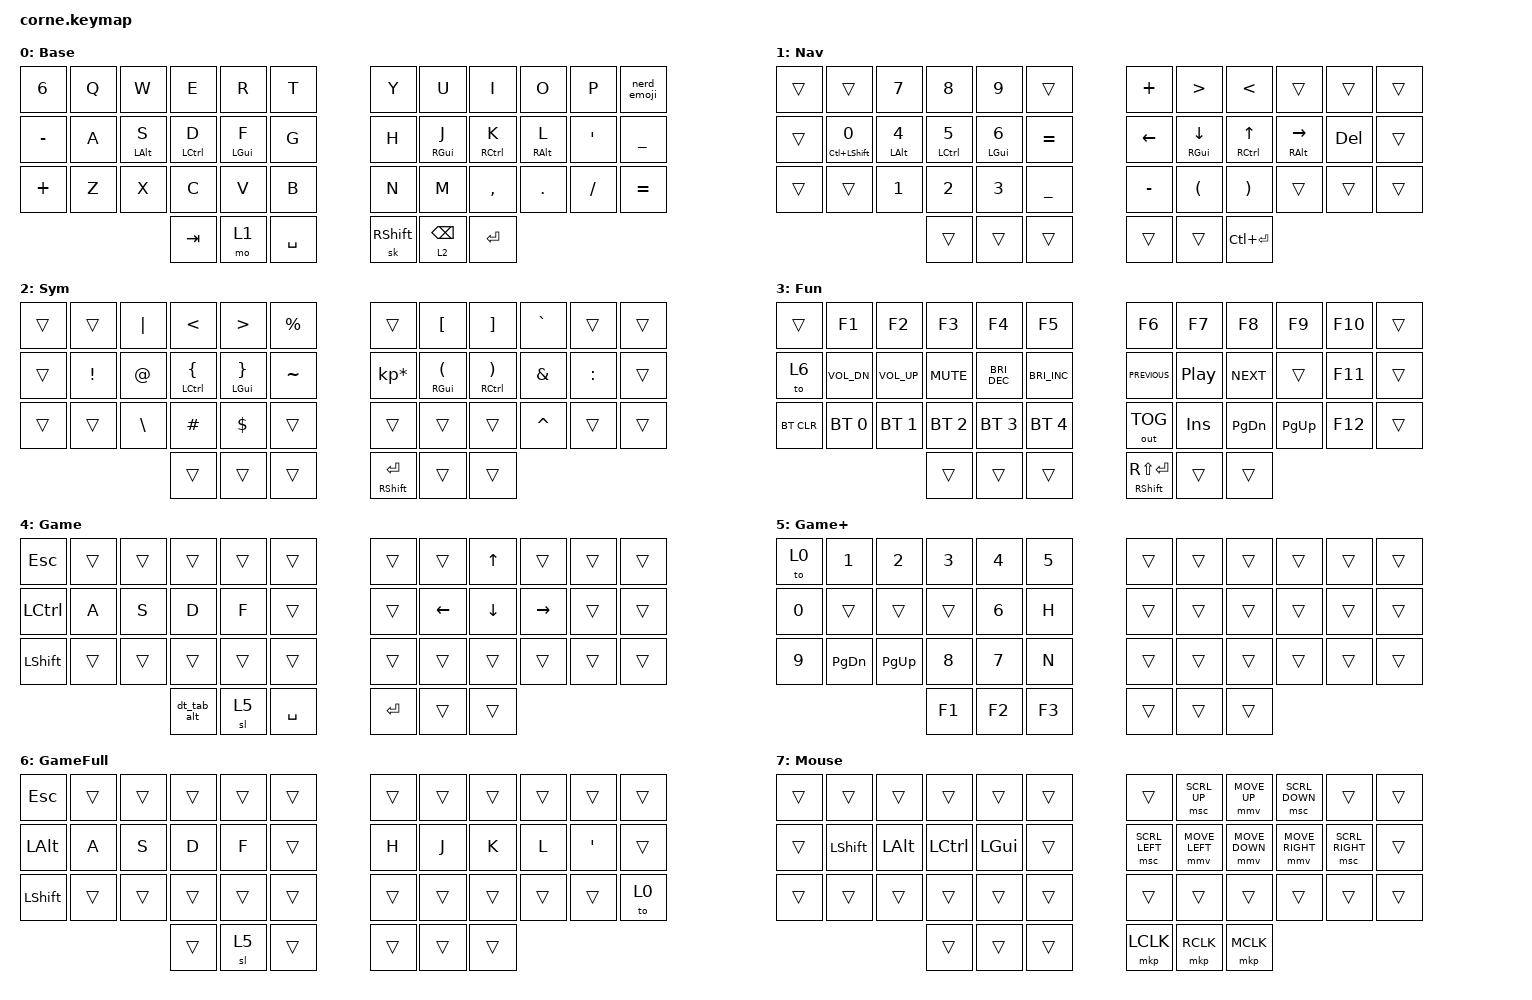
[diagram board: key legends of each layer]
// vi:ft=c

/*
 * Copyright (c) 2020 The ZMK Contributors
 *
 * SPDX-License-Identifier: MIT
 */

#define ZMK_POINTING_DEFAULT_MOVE_VAL 1500  // default: 600
#define ZMK_POINTING_DEFAULT_SCRL_VAL 20    // default: 10

#include <behaviors.dtsi>
#include <dt-bindings/zmk/bt.h>
#include <dt-bindings/zmk/keys.h>
#include <dt-bindings/zmk/outputs.h>
#include <dt-bindings/zmk/pointing.h>


// default behavior configs
&mmv {
    acceleration-exponent = <1>;      // 1
    time-to-max-speed-ms = <500>;    // 40
};

&msc {
    acceleration-exponent = <1>;      // 0
    time-to-max-speed-ms = <40>;      // 500
};

&lt {
    tapping-term-ms = <150>;
    flavor = "hold-preferred";
    quick-tap-ms = <100>;
};

/ {
    combos {
        compatible = "zmk,combos";

        semicolon {
            bindings = <&kp SEMICOLON>;
            key-positions = <19 21>;
            layers = <0 1 2 3>;
        };

        caps_word {
            bindings = <&caps_word>;
            key-positions= <14 16>;
            layers = <0 1 2 3>;
        };

        ctrl_enter {
            bindings = <&kp ENTER>;
            key-positions = <21 22>;
            layers = <1>;
        };

        esc {
            bindings = <&kp ESCAPE>;
            key-positions = <20 21>;
            layers = <0 1 2 3>;
        };

        mouse_combo {
            bindings = <&to 7>;
            key-positions = <16 19>;
            layers = <0 2 3 1>;
        };

        esc_mouse {
            bindings = <&to 0>;
            key-positions = <19 21>;
            layers = <7>;
        };

        gaming {
            bindings = <&to 4>;
            key-positions = <24 25>;
            layers = <0>;
        };
    };

    behaviors {
        shift_space: shift_space {
            compatible = "zmk,behavior-hold-tap";
            // label = "SHIFT_SPACE";
            bindings = <&kp>, <&kp>;

            #binding-cells = <2>;
            flavor = "tap-preferred";
            tapping-term-ms = <200>;
            quick-tap-ms = <125>;
        };

        dt_ctrl_shift: dt_ctrl_shift {
            compatible = "zmk,behavior-tap-dance";
            label = "DT_CTRL_SHIFT";
            #binding-cells = <0>;
            bindings = <&mt LCTRL LALT>, <&kp LC(LEFT_SHIFT)>;
        };

        hmr: hmr {
            compatible = "zmk,behavior-hold-tap";
            bindings = <&kp>, <&kp>;

            #binding-cells = <2>;
            hold-trigger-on-release;
            tapping-term-ms = <200>;
            flavor = "balanced";
            quick-tap-ms = <175>;
            require-prior-idle-ms = <150>;
            hold-trigger-key-positions = <36 37 38 39 40 41 0 1 2 3 4 5 12 13 14 15 16 17 24 25 26 27 28 29>;
        };

        hml: hml {
            compatible = "zmk,behavior-hold-tap";
            bindings = <&kp>, <&kp>;

            #binding-cells = <2>;
            hold-trigger-on-release;
            tapping-term-ms = <200>;
            flavor = "balanced";
            quick-tap-ms = <150>;
            require-prior-idle-ms = <150>;
            hold-trigger-key-positions = <36 37 38 39 40 41 30 18 6 7 19 8 9 10 20 21 22 32 33 34 6 7 8 9 10 11 18 19 20 21 22 23 30 31 32 33 34 35>;
        };

        dt_boot_reset: dt_boot_reset {
            compatible = "zmk,behavior-tap-dance";
            // label = "DT_BOOT_RESET";
            #binding-cells = <0>;
            bindings = <&bootloader>, <&sys_reset>;
        };

        dt_tab_alt: dt_tab_alt {
            compatible = "zmk,behavior-tap-dance";
            // label = "DT_TAB_ALT";
            #binding-cells = <0>;
            bindings = <&kp TAB>, <&kp LALT>;
        };
    };

    macros {
        nerd_emoji: nerd_emoji {
            compatible = "zmk,behavior-macro";
            #binding-cells = <0>;
            bindings = <&kp RS(LC(U)) &kp N1 &kp F &kp N9 &kp N1 &kp N3 &kp SPACE>;
            label = "NERD_EMOJI";
        };
    };

    keymap {
        compatible = "zmk,keymap";

        base {
            display-name = "Base";
            bindings = <
&kp N6        &kp Q  &kp W        &kp E         &kp R        &kp T        &kp Y            &kp U            &kp I         &kp O        &kp P           &nerd_emoji
&kp MINUS     &kp A  &hml LALT S  &hml LCTRL D  &hml LGUI F  &kp G        &kp H            &hmr RGUI J      &hmr RCTRL K  &hmr RALT L  &kp APOSTROPHE  &kp UNDERSCORE
&kp PLUS      &kp Z  &kp X        &kp C         &kp V        &kp B        &kp N            &kp M            &kp COMMA     &kp DOT      &kp FSLH        &kp EQUAL
                                  &kp TAB       &mo 1        &kp SPACE    &sk RIGHT_SHIFT  &lt 2 BACKSPACE  &kp ENTER
            >;
        };

        nav {
            display-name = "Nav";
            bindings = <
&trans  &trans                 &kp N7        &kp N8         &kp N9        &trans            &kp PLUS   &kp GREATER_THAN      &kp LESS_THAN          &trans          &trans       &trans
&trans  &hml LC(LEFT_SHIFT) N0 &hml LALT N4  &hml LCTRL N5  &hml LGUI N6  &kp EQUAL         &kp LEFT   &hmr RGUI DOWN        &hmr RCTRL UP          &hmr RALT RIGHT  &kp DELETE  &trans
&trans  &trans                 &kp N1        &kp N2         &kp N3        &kp UNDERSCORE    &kp MINUS  &kp LEFT_PARENTHESIS  &kp RIGHT_PARENTHESIS  &trans           &trans      &trans
                                             &trans         &trans        &trans            &trans     &trans                &kp LC(ENTER)
            >;
        };

        sym {
            display-name = "Sym";
            bindings = <
&trans  &trans           &kp PIPE       &kp LESS_THAN          &kp GREATER_THAN       &kp PRCNT    &trans            &kp LEFT_BRACKET            &kp RIGHT_BRACKET             &kp GRAVE      &trans     &trans
&trans  &kp EXCLAMATION  &kp AT         &hml LCTRL LEFT_BRACE  &hml LGUI RIGHT_BRACE  &kp TILDE    &kp KP_MULTIPLY   &hmr RGUI LEFT_PARENTHESIS  &hmr RCTRL RIGHT_PARENTHESIS  &kp AMPERSAND  &kp COLON  &trans
&trans  &trans           &kp BACKSLASH  &kp POUND              &kp DOLLAR             &trans       &trans            &trans                      &trans                        &kp CARET      &trans     &trans
                                        &trans                 &trans                 &trans       &mt RSHIFT ENTER  &trans                      &trans
            >;
        };

        fun {
            display-name = "Fun";
            bindings = <
&trans      &kp F1        &kp F2        &kp F3        &kp F4                &kp F5                &kp F6                &kp F7            &kp F8      &kp F9     &kp F10  &trans
&to 6       &kp C_VOL_DN  &kp C_VOL_UP  &kp C_MUTE    &kp C_BRIGHTNESS_DEC  &kp C_BRIGHTNESS_INC  &kp C_PREVIOUS        &kp C_PLAY_PAUSE  &kp C_NEXT  &trans     &kp F11  &trans
&bt BT_CLR  &bt BT_SEL 0  &bt BT_SEL 1  &bt BT_SEL 2  &bt BT_SEL 3          &bt BT_SEL 4          &out OUT_TOG          &kp INS           &kp PG_DN   &kp PG_UP  &kp F12  &trans
                                        &trans        &trans                &trans                &mt RSHIFT RS(ENTER)  &trans            &trans
            >;
        };

        game {
            display-name = "Game";
            bindings = <
&kp ESC    &trans  &trans  &trans       &trans  &trans       &trans     &trans    &kp UP    &trans     &trans  &trans
&kp LCTRL  &kp A   &kp S   &kp D        &kp F   &trans       &trans     &kp LEFT  &kp DOWN  &kp RIGHT  &trans  &trans
&kp LSHFT  &trans  &trans  &trans       &trans  &trans       &trans     &trans    &trans    &trans     &trans  &trans
                           &dt_tab_alt  &sl 5   &kp SPACE    &kp ENTER  &trans    &trans
            >;

            label = "Game";
        };

        game_plus {
            display-name = "Game+";
            bindings = <
&to 0         &kp NUMBER_1   &kp N2       &kp N3        &kp N4        &kp N5    &trans  &trans  &trans  &trans  &trans  &trans
&kp N0        &trans         &trans       &trans        &kp N6        &kp H     &trans  &trans  &trans  &trans  &trans  &trans
&kp NUMBER_9  &kp PAGE_DOWN  &kp PAGE_UP  &kp NUMBER_8  &kp NUMBER_7  &kp N     &trans  &trans  &trans  &trans  &trans  &trans
                                          &kp F1        &kp F2        &kp F3    &trans  &trans  &trans
            >;

            label = "Game+";
        };

        game_full {
            bindings = <
&kp ESC    &trans  &trans  &trans  &trans  &trans    &trans  &trans  &trans  &trans  &trans    &trans
&kp LALT   &kp A   &kp S   &kp D   &kp F   &trans    &kp H   &kp J   &kp K   &kp L   &kp APOS  &trans
&kp LSHFT  &trans  &trans  &trans  &trans  &trans    &trans  &trans  &trans  &trans  &trans    &to 0
                           &trans  &sl 5   &trans    &trans  &trans  &trans
            >;

            label = "GameFull";
        };

        mouse {
            bindings = <
&trans  &trans      &trans    &trans     &trans    &trans    &trans          &msc SCRL_UP    &mmv MOVE_UP    &msc SCRL_DOWN   &trans           &trans
&trans  &kp LSHIFT  &kp LALT  &kp LCTRL  &kp LGUI  &trans    &msc SCRL_LEFT  &mmv MOVE_LEFT  &mmv MOVE_DOWN  &mmv MOVE_RIGHT  &msc SCRL_RIGHT  &trans
&trans  &trans      &trans    &trans     &trans    &trans    &trans          &trans          &trans          &trans           &trans           &trans
                              &trans     &trans    &trans    &mkp LCLK       &mkp RCLK       &mkp MCLK
            >;

            label = "Mouse";
        };
    };

    conditional_layers {
        compatible = "zmk,conditional-layers";

        function {
            if-layers = <1 2>;
            then-layer = <3>;
        };
    };
};
